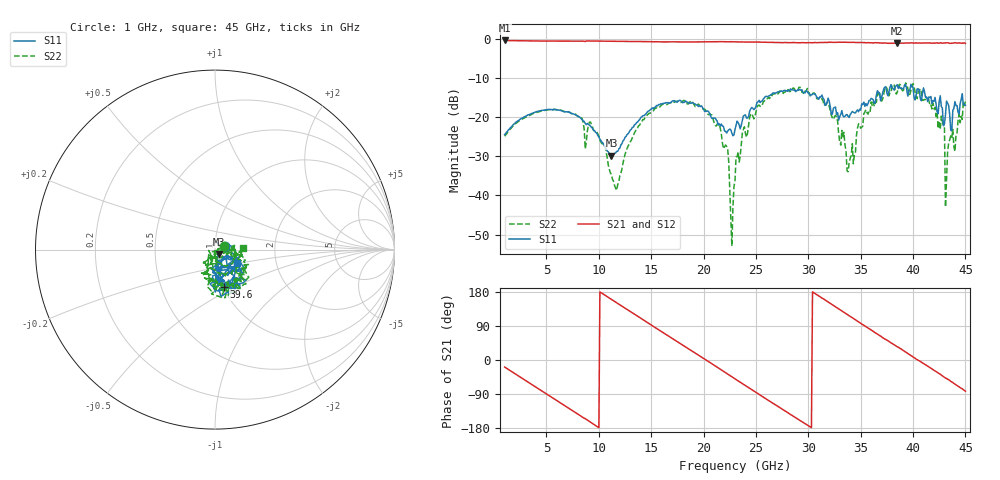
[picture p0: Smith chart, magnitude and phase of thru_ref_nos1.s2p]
!Keysight Technologies,N5247B,MY61255062,A.19.80.06
!Date: Monday, May 18, 2026 12:50:28
!Correction: S11(Cdelta 2-Port  )
!S21(Cdelta 2-Port  )
!S12(Cdelta 2-Port  )
!S22(Cdelta 2-Port  )
!S2P File: Measurements: S11, S21, S12, S22:
# Hz S  dB  R 50
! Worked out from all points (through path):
!   441 points, 1 GHz to 45 GHz, reference 50 ohm
!   highest |S21| = -0.40 dB at 1 GHz (marker M1); lowest = -1.2 dB at 38.5 GHz (marker M2)
!   group delay of S21, straight-line fit = 49.4 ps
!   lowest |S11| = -29.9 dB at 11.2 GHz (marker M3), VSWR 1.07, Z = 52 - j2.55 ohm
!   |S11| at or under -10 dB: start of sweep to end of sweep
!   |S22| runs from -53.0 to -11.2 dB; largest |S21 - S12| = 0.021
!   S11 on the Smith chart (normalised r, x): 1 GHz: 1.12, +0.05; 39.6 GHz: 1.01, -0.44; 45 GHz: 1.26, -0.20
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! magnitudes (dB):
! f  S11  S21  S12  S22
! 1 GHz  -24.5  -0.4  -0.4  -24.9
! 8.4 GHz  -20.7  -0.6  -0.6  -20.4
! 11.2 GHz  -29.9  -0.6  -0.6  -34.7
! 11.7 GHz  -28.7  -0.6  -0.6  -38.7
! 13.4 GHz  -21.9  -0.7  -0.7  -24.0
! 15.7 GHz  -16.8  -0.7  -0.7  -17.7
! 20.7 GHz  -19.9  -0.7  -0.7  -19.4
! 22.2 GHz  -24.1  -0.7  -0.7  -27.4
! 22.7 GHz  -24.1  -0.7  -0.7  -53.0
! 23 GHz  -23.1  -0.7  -0.7  -36.2
! 23.8 GHz  -19.7  -0.8  -0.8  -23.1
! 25.3 GHz  -15.7  -0.8  -0.8  -16.9
! 30.4 GHz  -14.2  -1.0  -1.0  -14.0
! 32.6 GHz  -17.4  -0.9  -0.9  -19.5
! 33.9 GHz  -20.1  -0.9  -0.9  -31.6
! 35.5 GHz  -16.5  -1.0  -1.0  -18.1
! 37.7 GHz  -13.5  -1.1  -1.1  -14.6
! 38.5 GHz  -11.7  -1.2  -1.1  -13.6
! 39.6 GHz  -13.4  -1.1  -1.0  -14.2
! 42.1 GHz  -15.0  -1.1  -1.0  -17.4
! 43.3 GHz  -16.4  -1.0  -1.0  -28.9
! 45 GHz  -16.9  -1.1  -1.1  -16.0
